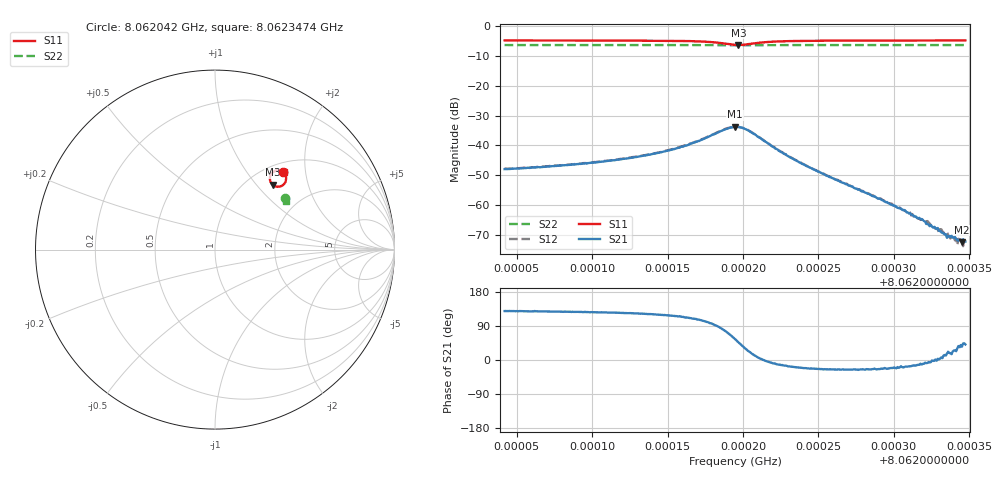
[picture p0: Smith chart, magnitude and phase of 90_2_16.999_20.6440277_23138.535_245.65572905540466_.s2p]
#  HZ  S  RI  R  50.00
! Rohde & Schwarz Vector Network Analyzer
! Rohde-Schwarz,ZNB20-2Port,1311601062101988,3.16
! Created: UTC 3/20/2024, 10:56:05 PM
! freq[Hz]  re:S11  im:S11  re:S21  im:S21  re:S12  im:S12  re:S22  im:S22
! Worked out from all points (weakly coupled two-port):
!   401 points, 8.062042 GHz to 8.0623474 GHz, reference 50 ohm
!   highest |S21| = -33.75 dB at 8.0621947 GHz (marker M1); lowest = -72.3 dB at 8.0623451 GHz (marker M2)
!   lowest |S11| = -6.3 dB at 8.062197 GHz (marker M3), VSWR 2.87, Z = 64.8 + j61.1 ohm
!   |S11| at or under -10 dB: nowhere
!   |S22| runs from -6.4 to -6.3 dB; largest |S21 - S12| = 0.0015
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8.06204198e9  0.3794 0.4327  -0.00253 0.00311  -0.00238 0.00328  0.3874 0.2876
8.06209314e9  0.3851 0.4265  -0.00295 0.00394  -0.00273 0.00418  0.3892 0.2849
8.06212063e9  0.389 0.4211  -0.00335 0.00493  -0.00305 0.00518  0.3902 0.2834
8.06214431e9  0.3932 0.4128  -0.00371 0.00655  -0.00338 0.00687  0.391 0.2819
8.06216187e9  0.3963 0.4003  -0.00374 0.00922  -0.00333 0.00962  0.3913 0.2803
8.06217867e9  0.391 0.374  -0.00177 0.0145  -0.000737 0.0148  0.3912 0.2786
8.0621886e9  0.3648 0.3523  0.00468 0.0182  0.00607 0.0181  0.3901 0.2777
8.06219471e9  0.3326 0.3542  0.0117 0.0168  0.0128 0.0162  0.3889 0.2779
8.062197e9  0.321 0.3614  0.014 0.0148  0.0151 0.014  0.3886 0.2783
8.06220387e9  0.3056 0.396  0.0162 0.00682  0.0168 0.00574  0.3887 0.2797
8.06221456e9  0.3224 0.4309  0.0117 -0.000377  0.0117 -0.00112  0.3904 0.2806
8.0622306e9  0.3472 0.4408  0.00617 -0.00189  0.00613 -0.00229  0.3921 0.2798
8.06224587e9  0.3593 0.4403  0.00375 -0.00156  0.00371 -0.00181  0.3931 0.2787
8.06229704e9  0.3756 0.4344  0.000978 -0.000406  0.000948 -0.000495  0.3952 0.2758
8.06231842e9  0.3789 0.4323  0.000572 -0.000122  0.000557 -0.00016  0.3961 0.2749
8.06232224e9  0.3794 0.4321  0.000479 -6.56e-05  0.00053 -0.000107  0.3961 0.2747
8.06232606e9  0.3797 0.4317  0.00042 -1.74e-05  0.000432 -3.67e-05  0.3961 0.2744
8.06233522e9  0.381 0.4309  0.000271 8.28e-05  0.000347 7.85e-05  0.3966 0.2741
8.0623398e9  0.3815 0.4305  0.000259 0.000121  0.000267 8.8e-05  0.3966 0.2737
8.06234057e9  0.3815 0.4306  0.000263 0.000127  0.000234 0.000106  0.3967 0.2736
8.06234515e9  0.3821 0.4301  0.000197 0.000139  0.000207 0.000149  0.3968 0.2734
8.06234744e9  0.3823 0.43  0.000185 0.000161  0.000163 0.000191  0.397 0.2734
